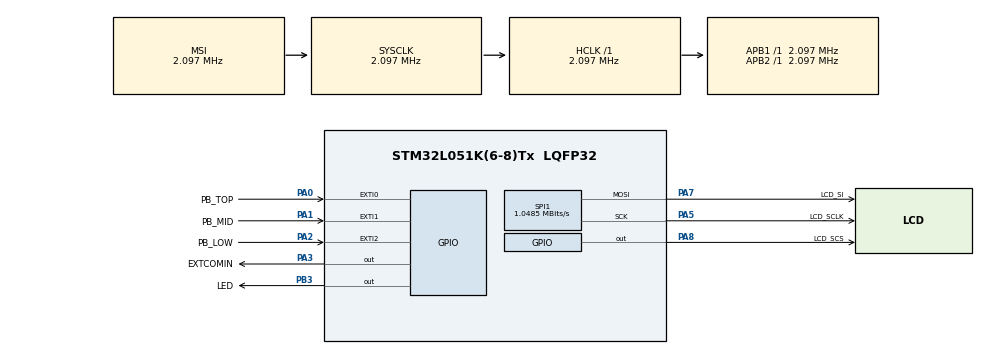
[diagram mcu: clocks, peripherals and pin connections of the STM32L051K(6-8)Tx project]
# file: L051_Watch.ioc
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Dma.Request0=SPI1_TX
Dma.SPI1_TX.0.Direction=DMA_MEMORY_TO_PERIPH
Dma.SPI1_TX.0.Instance=DMA1_Channel3
Dma.SPI1_TX.0.MemDataAlignment=DMA_MDATAALIGN_BYTE
Dma.SPI1_TX.0.MemInc=DMA_MINC_ENABLE
Dma.SPI1_TX.0.Mode=DMA_NORMAL
Dma.SPI1_TX.0.PeriphDataAlignment=DMA_PDATAALIGN_BYTE
Dma.SPI1_TX.0.PeriphInc=DMA_PINC_DISABLE
Dma.SPI1_TX.0.Priority=DMA_PRIORITY_LOW
FREERTOS.Tasks01=defaultTask,0,128,StartDefaultTask,Default,NULL,Dynamic,NULL,NULL
FREERTOS.configUSE_IDLE_HOOK=1
Mcu.Family=STM32L0
Mcu.Name=STM32L051K(6-8)Tx
Mcu.Package=LQFP32
NVIC.DMA1_Channel2_3_IRQn=true\:3\:0\:false\:false\:true\:true
NVIC.EXTI0_1_IRQn=true\:3\:0\:false\:false\:true\:true
NVIC.EXTI2_3_IRQn=true\:3\:0\:false\:false\:true\:true
NVIC.RTC_IRQn=true\:3\:0\:false\:false\:true\:true
NVIC.TIM2_IRQn=true\:3\:0\:false\:false\:true\:true
NVIC.TimeBase=TIM2_IRQn
NVIC.TimeBaseIP=TIM2
PA0.GPIO_Label=PB_TOP
PA0.GPIO_ModeDefaultEXTI=GPIO_MODE_IT_FALLING
PA0.GPIO_PuPd=GPIO_PULLUP
PA0.Signal=GPXTI0
PA1.GPIO_Label=PB_MID
PA1.GPIO_ModeDefaultEXTI=GPIO_MODE_IT_FALLING
PA1.GPIO_PuPd=GPIO_PULLUP
PA1.Signal=GPXTI1
PA13.Mode=Serial_Wire
PA13.Signal=SYS_SWDIO
PA14.Mode=Serial_Wire
PA14.Signal=SYS_SWCLK
PA2.GPIO_Label=PB_LOW
PA2.GPIO_ModeDefaultEXTI=GPIO_MODE_IT_FALLING
PA2.GPIO_PuPd=GPIO_PULLUP
PA2.Signal=GPXTI2
PA3.GPIO_Label=EXTCOMIN
PA3.GPIO_PuPd=GPIO_PULLDOWN
PA3.Signal=GPIO_Output
PA5.GPIO_Label=LCD_SCLK
PA5.Mode=TX_Only_Simplex_Unidirect_Master
PA5.Signal=SPI1_SCK
PA7.GPIO_Label=LCD_SI
PA7.Mode=TX_Only_Simplex_Unidirect_Master
PA7.Signal=SPI1_MOSI
PA8.GPIO_Label=LCD_SCS
PA8.GPIO_PuPd=GPIO_PULLDOWN
PA8.Signal=GPIO_Output
PB3.GPIO_Label=LED
PB3.GPIO_PuPd=GPIO_PULLDOWN
PB3.Signal=GPIO_Output
PC14-OSC32_IN.Mode=LSE-External-Oscillator
PC14-OSC32_IN.Signal=RCC_OSC32_IN
PC15-OSC32_OUT.Mode=LSE-External-Oscillator
PC15-OSC32_OUT.Signal=RCC_OSC32_OUT
ProjectManager.HeapSize=0x200
ProjectManager.StackSize=0x400
ProjectManager.TargetToolchain=SW4STM32
RCC.AHBFreq_Value=2097000
RCC.APB1Freq_Value=2097000
RCC.APB1TimFreq_Value=2097000
RCC.APB2Freq_Value=2097000
RCC.APB2TimFreq_Value=2097000
RCC.DATA_CACHE_ENABLE=0
RCC.HSI16_VALUE=16000000
RCC.HSI_VALUE=16000000
RCC.INSTRUCTION_CACHE_ENABLE=1
RCC.MSI_VALUE=2097000
RCC.PWR_Regulator_Voltage_Scale=PWR_REGULATOR_VOLTAGE_SCALE2
RCC.RTCClockSelection=RCC_RTCCLKSOURCE_LSE
RCC.RTCClockSelectionVirtual=RCC_RTCCLKSOURCE_LSE
RCC.SYSCLKFreq_VALUE=2097000
RCC.VCOOutputFreq_Value=48000000
RCC.VDD_VALUE=2
RTC.WakeUpClock=RTC_WAKEUPCLOCK_CK_SPRE_16BITS
RTC.WakeUpCounter=59
SPI1.CalculateBaudRate=1.0485 MBits/s
SPI1.FirstBit=SPI_FIRSTBIT_LSB
SPI1.Mode=SPI_MODE_MASTER
VP_FREERTOS_VS_ENABLE.Mode=Enabled
VP_RTC_VS_RTC_Activate.Mode=RTC_Enabled
VP_RTC_VS_RTC_Calendar.Mode=RTC_Calendar
VP_RTC_VS_RTC_WakeUp_intern.Mode=WakeUp
VP_SYS_VS_tim2.Mode=TIM2
board=L051_Watch

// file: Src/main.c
/**
  ******************************************************************************
  * File Name          : main.c
  * Description        : Main program body
  ******************************************************************************
  *
  * Copyright (c) 2017 STMicroelectronics International N.V.
  * All rights reserved.
  *
  * Redistribution and use in source and binary forms, with or without
  * modification, are permitted, provided that the following conditions are met:
  *
  * 1. Redistribution of source code must retain the above copyright notice,
  *    this list of conditions and the following disclaimer.
  * 2. Redistributions in binary form must reproduce the above copyright notice,
  *    this list of conditions and the following disclaimer in the documentation
  *    and/or other materials provided with the distribution.
  * 3. Neither the name of STMicroelectronics nor the names of other
  *    contributors to this software may be used to endorse or promote products
  *    derived from this software without specific written permission.
  * 4. This software, including modifications and/or derivative works of this
  *    software, must execute solely and exclusively on microcontroller or
  *    microprocessor devices manufactured by or for STMicroelectronics.
  * 5. Redistribution and use of this software other than as permitted under
  *    this license is void and will automatically terminate your rights under
  *    this license.
  *
  * THIS SOFTWARE IS PROVIDED BY STMICROELECTRONICS AND CONTRIBUTORS "AS IS"
  * AND ANY EXPRESS, IMPLIED OR STATUTORY WARRANTIES, INCLUDING, BUT NOT
  * LIMITED TO, THE IMPLIED WARRANTIES OF MERCHANTABILITY, FITNESS FOR A
  * PARTICULAR PURPOSE AND NON-INFRINGEMENT OF THIRD PARTY INTELLECTUAL PROPERTY
  * RIGHTS ARE DISCLAIMED TO THE FULLEST EXTENT PERMITTED BY LAW. IN NO EVENT
  * SHALL STMICROELECTRONICS OR CONTRIBUTORS BE LIABLE FOR ANY DIRECT, INDIRECT,
  * INCIDENTAL, SPECIAL, EXEMPLARY, OR CONSEQUENTIAL DAMAGES (INCLUDING, BUT NOT
  * LIMITED TO, PROCUREMENT OF SUBSTITUTE GOODS OR SERVICES; LOSS OF USE, DATA,
  * OR PROFITS; OR BUSINESS INTERRUPTION) HOWEVER CAUSED AND ON ANY THEORY OF
  * LIABILITY, WHETHER IN CONTRACT, STRICT LIABILITY, OR TORT (INCLUDING
  * NEGLIGENCE OR OTHERWISE) ARISING IN ANY WAY OUT OF THE USE OF THIS SOFTWARE,
  * EVEN IF ADVISED OF THE POSSIBILITY OF SUCH DAMAGE.
  *
  ******************************************************************************
  */
#include "main.h"
#include "stm32l0xx_hal.h"
#include "cmsis_os.h"

/* USER CODE BEGIN Includes */
#include "inittriglut.h"
#include <stdlib.h>
/* USER CODE END Includes */

RTC_HandleTypeDef hrtc;

SPI_HandleTypeDef hspi1;
DMA_HandleTypeDef hdma_spi1_tx;

osThreadId defaultTaskHandle;

/* USER CODE BEGIN PV */
/* Private variables ---------------------------------------------------------*/
#define SCREEN_WIDTH	128
#define SCREEN_HEIGHT	128

volatile uint8_t data[SCREEN_HEIGHT * ((SCREEN_WIDTH >> 3) + 2)];
const uint8_t command[1] = {0x03};
const uint8_t clear_cmd[2] = {0x05, 0x00};

RTC_TimeTypeDef sTimeStamp;
RTC_DateTypeDef sDateStamp;
HAL_RTCStateTypeDef currentState;

uint8_t hours = 12, minutes = 01, seconds = 30;

typedef enum {
	false = 0U,
	true = 1U
} bool;

typedef void (*drawFuncDef)(uint8_t, uint8_t);
/* USER CODE END PV */

void SystemClock_Config(void);
void Error_Handler(void);
static void MX_GPIO_Init(void);
static void MX_DMA_Init(void);
static void MX_SPI1_Init(void);
static void MX_RTC_Init(void);
void StartDefaultTask(void const * argument);

/* USER CODE BEGIN PFP */
/* Private function prototypes -----------------------------------------------*/

/* USER CODE END PFP */

/* USER CODE BEGIN 0 */
static void setPixel(uint8_t x, uint8_t y) {
	if (x > 127 || y > 127) return;
	/*x %= 128;
	y %= 128;*/
	data[(y*((SCREEN_WIDTH>>3)+2))+(x>>3)+1] &= ~(1 << (x % 8));
}

static void clearPixel(uint8_t x, uint8_t y) {
	if (x > 127 || y > 127) return;
	/*x %= 128;
	y %= 128;*/
	data[(y*((SCREEN_WIDTH>>3)+2))+(x>>3)+1] |= (1 << (x % 8));
}

void clearDisplay() {
	for(uint8_t dy=0; dy<SCREEN_HEIGHT; dy++) {
		for(uint8_t dx=0; dx<SCREEN_WIDTH; dx++) {
			setPixel(dx,dy);
		}
	}
}

static drawFuncDef otherFunction(const drawFuncDef func) {
	if (func == setPixel) return clearPixel;
	else return setPixel;
}

static void drawCircle(uint8_t x0, uint8_t y0, uint8_t radius, const drawFuncDef drawFunc) {
	int x = radius;
	int y = 0;
	int err = 0;
	while (x >= y) {
		drawFunc(x0 + x, y0 + y);
		drawFunc(x0 + y, y0 + x);
		drawFunc(x0 - y, y0 + x);
		drawFunc(x0 - x, y0 + y);
		drawFunc(x0 - x, y0 - y);
		drawFunc(x0 - y, y0 - x);
		drawFunc(x0 + y, y0 - x);
		drawFunc(x0 + x, y0 - y);

		y += 1;
		err += 1 + (y << 2);
		if (((err-x) << 2) + 1 > 0) {
			x -= 1;
			err += 1 - (x << 2);
		}
	}
}

// source: https://rosettacode.org/wiki/Bitmap/Bresenham%27s_line_algorithm#C
static void drawLine(uint8_t x0, uint8_t y0, uint8_t x1, uint8_t y1, const drawFuncDef drawFunc) {
	int dx = abs(x1-x0), sx = x0 < x1 ? 1 : -1;
	int dy = abs(y1-y0), sy = y0 < y1 ? 1 : -1;
	int err = (dx > dy ? dx : -dy)/2, e2;

	for (;;) {
		drawFunc(x0,y0);
		if (x0==x1 && y0==y1) break;
		e2 = err;
		if (e2 > -dx)	{ err -= dy; x0 += sx; }
		if (e2 < dy)	{ err += dx; y0 += sy; }
	}
}

static void drawRect(uint8_t x1, uint8_t y1, uint8_t w, uint8_t h, const drawFuncDef drawFunc) {
	drawLine(x1,y1,x1+w,y1,drawFunc);
	drawLine(x1,y1,x1,y1+h,drawFunc);
	drawLine(x1,y1+h,x1+w,y1+h,drawFunc);
	drawLine(x1+w,y1,x1+w,y1+h,drawFunc);
}

static void drawArc(uint8_t x0, uint8_t y0, uint8_t radius, int16_t start, int16_t end, const drawFuncDef drawFunc) {
	for(int16_t theta=start+1; theta<end; theta++) {
		int32_t _x1 = x0 + radius * i16_cos(theta-1) / 32768;
		int32_t _y1 = y0 + radius * i16_sin(theta-1) / 32768;
		int32_t _x2 = x0 + radius * i16_cos(theta) / 32768;
		int32_t _y2 = y0 + radius * i16_sin(theta) / 32768;
		//drawFunc((uint8_t)_x, (uint8_t)_y);
		drawLine(_x1, _y1, _x2, _y2, drawFunc);
	}
}

static void drawRoundedRect(uint8_t x1, uint8_t y1, uint8_t w, uint8_t h, uint8_t r, const drawFuncDef drawFunc) {
	drawLine(x1+r,y1,x1+w-r,y1,drawFunc);
	drawLine(x1,y1+r,x1,y1+h-r,drawFunc);
	drawLine(x1+r,y1+h,x1+w-r,y1+h,drawFunc);
	drawLine(x1+w,y1+r,x1+w,y1+h-r,drawFunc);

	drawArc(x1+r,y1+r,r,180,270,drawFunc);
	drawArc(x1+w-r,y1+r,r,-90,0,drawFunc);
	drawArc(x1+r,y1+h-r,r,90,180,drawFunc);
	drawArc(x1+w-r,y1+h-r,r,0,90,drawFunc);
}
/*
static void drawChar8(uint8_t x, uint8_t y, char c, bool bg, const drawFuncDef drawFunc) {
	uint16_t n = c - ' ';
	drawFuncDef other = otherFunction(drawFunc);

	for (uint8_t i=0; i<16; i++) {
		for(uint8_t j=0; j<8; j++) {
			if  ((font8x16[(n*16)+i] >> (7-j)) & 0x01) {
				setPixel((x+j)%SCREEN_WIDTH, (y+i)%SCREEN_HEIGHT);
			}
			else {
				if (bg) other((x+j)%SCREEN_WIDTH, (y+i)%SCREEN_HEIGHT);
			}
		}
	}
}

static void drawChar32(uint8_t x, uint8_t y, char c, bool bg, const drawFuncDef drawFunc) {
	uint16_t n = c - '0';
	drawFuncDef other = otherFunction(drawFunc);
	if (n > 10) n = 11;

	for(uint8_t i=0; i<29; i++) {
		for(uint8_t j=0; j<24; j++) {
			if ((font24x29[(n*29)+i] >> (23-j)) & (uint32_t)0x01) {
				drawFunc((x+j)%SCREEN_WIDTH, (y+i)%SCREEN_HEIGHT);
			}
			else {
				if (bg) other((x+j)%SCREEN_WIDTH, (y+i)%SCREEN_HEIGHT);
			}
		}
	}
}

static void drawStr8(uint8_t x, uint8_t y, char str[], bool bg, const drawFuncDef drawFunc) {
	char *c = NULL;
	uint8_t x0 = x;
	for(c = str; *c != '\0'; c++) {
		if (*c == '\n') {
			y += 16;
			x = x0;
		}
		else {
			drawChar8(x, y, *c, bg, drawFunc);
			x += 8;
		}
	}
}

static void drawStr24(uint8_t x, uint8_t y, char str[], bool bg, const drawFuncDef drawFunc) {
	char *c = NULL;
	for(c = str; *c != '\0'; c++) {
		drawChar32(x, y, *c, bg, drawFunc);
		x += 24;
	}
}*/
/* USER CODE END 0 */

int main(void)
{

  /* USER CODE BEGIN 1 */
	for(uint8_t i=0; i<SCREEN_HEIGHT; i++) {
			data[i*((SCREEN_WIDTH >> 3)+2)] = i+1;
			data[(i+1)*((SCREEN_WIDTH>>3)+2)-1] = 0x00;
		}
  /* USER CODE END 1 */

  /* MCU Configuration----------------------------------------------------------*/

  /* Reset of all peripherals, Initializes the Flash interface and the Systick. */
  HAL_Init();

  /* Configure the system clock */
  SystemClock_Config();

  /* Initialize all configured peripherals */
  MX_GPIO_Init();
  MX_DMA_Init();
  MX_SPI1_Init();
  MX_RTC_Init();

  /* USER CODE BEGIN 2 */
  HAL_SuspendTick();
  HAL_PWREx_EnableLowPowerRunMode();

  updateDisplay();
  /* USER CODE END 2 */

  /* Create the thread(s) */
  /* definition and creation of defaultTask */
  /*osThreadDef(defaultTask, StartDefaultTask, osPriorityNormal, 0, 128);
  defaultTaskHandle = osThreadCreate(osThread(defaultTask), NULL);*/

  /* Start scheduler */
  osKernelStart();

  /* We should never get here as control is now taken by the scheduler */

  /* Infinite loop */
  while (1)
  {

  }

}

/** System Clock Configuration
*/
void SystemClock_Config(void)
{

  RCC_OscInitTypeDef RCC_OscInitStruct;
  RCC_ClkInitTypeDef RCC_ClkInitStruct;
  RCC_PeriphCLKInitTypeDef PeriphClkInit;

    /**Configure the main internal regulator output voltage
    */
  __HAL_PWR_VOLTAGESCALING_CONFIG(PWR_REGULATOR_VOLTAGE_SCALE2);

    /**Initializes the CPU, AHB and APB busses clocks
    */
  RCC_OscInitStruct.OscillatorType = RCC_OSCILLATORTYPE_LSE|RCC_OSCILLATORTYPE_MSI;
  RCC_OscInitStruct.LSEState = RCC_LSE_ON;
  RCC_OscInitStruct.MSIState = RCC_MSI_ON;
  RCC_OscInitStruct.MSICalibrationValue = 0;
  RCC_OscInitStruct.MSIClockRange = RCC_MSIRANGE_5;
  RCC_OscInitStruct.PLL.PLLState = RCC_PLL_NONE;
  if (HAL_RCC_OscConfig(&RCC_OscInitStruct) != HAL_OK)
  {
    Error_Handler();
  }

    /**Initializes the CPU, AHB and APB busses clocks
    */
  RCC_ClkInitStruct.ClockType = RCC_CLOCKTYPE_HCLK|RCC_CLOCKTYPE_SYSCLK
                              |RCC_CLOCKTYPE_PCLK1|RCC_CLOCKTYPE_PCLK2;
  RCC_ClkInitStruct.SYSCLKSource = RCC_SYSCLKSOURCE_MSI;
  RCC_ClkInitStruct.AHBCLKDivider = RCC_SYSCLK_DIV1;
  RCC_ClkInitStruct.APB1CLKDivider = RCC_HCLK_DIV1;
  RCC_ClkInitStruct.APB2CLKDivider = RCC_HCLK_DIV1;

  if (HAL_RCC_ClockConfig(&RCC_ClkInitStruct, FLASH_LATENCY_0) != HAL_OK)
  {
    Error_Handler();
  }

  PeriphClkInit.PeriphClockSelection = RCC_PERIPHCLK_RTC;
  PeriphClkInit.RTCClockSelection = RCC_RTCCLKSOURCE_LSE;
  if (HAL_RCCEx_PeriphCLKConfig(&PeriphClkInit) != HAL_OK)
  {
    Error_Handler();
  }

    /**Configure LSE Drive Capability
    */
  __HAL_RCC_LSEDRIVE_CONFIG(RCC_LSEDRIVE_LOW);

    /**Configure the Systick interrupt time
    */
  HAL_SYSTICK_Config(HAL_RCC_GetHCLKFreq()/1000);

    /**Configure the Systick
    */
  HAL_SYSTICK_CLKSourceConfig(SYSTICK_CLKSOURCE_HCLK);

  /* SysTick_IRQn interrupt configuration */
  HAL_NVIC_SetPriority(SysTick_IRQn, 3, 0);
}

/* RTC init function */
static void MX_RTC_Init(void)
{

  RTC_TimeTypeDef sTime;
  RTC_DateTypeDef sDate;

    /**Initialize RTC Only
    */
  hrtc.Instance = RTC;
  hrtc.Init.HourFormat = RTC_HOURFORMAT_24;
  hrtc.Init.AsynchPrediv = 127;
  hrtc.Init.SynchPrediv = 255;
  hrtc.Init.OutPut = RTC_OUTPUT_DISABLE;
  hrtc.Init.OutPutRemap = RTC_OUTPUT_REMAP_NONE;
  hrtc.Init.OutPutPolarity = RTC_OUTPUT_POLARITY_HIGH;
  hrtc.Init.OutPutType = RTC_OUTPUT_TYPE_OPENDRAIN;
  if (HAL_RTC_Init(&hrtc) != HAL_OK)
  {
    Error_Handler();
  }

    /**Initialize RTC and set the Time and Date
    */
  sTime.Hours = 0x0;
  sTime.Minutes = 0x0;
  sTime.Seconds = 0x0;
  sTime.DayLightSaving = RTC_DAYLIGHTSAVING_NONE;
  sTime.StoreOperation = RTC_STOREOPERATION_RESET;
  if (HAL_RTC_SetTime(&hrtc, &sTime, RTC_FORMAT_BCD) != HAL_OK)
  {
    Error_Handler();
  }

  sDate.WeekDay = RTC_WEEKDAY_MONDAY;
  sDate.Month = RTC_MONTH_JANUARY;
  sDate.Date = 0x1;
  sDate.Year = 0x0;

  if (HAL_RTC_SetDate(&hrtc, &sDate, RTC_FORMAT_BCD) != HAL_OK)
  {
    Error_Handler();
  }

    /**Enable the WakeUp
    */
  if (HAL_RTCEx_SetWakeUpTimer_IT(&hrtc, 59, RTC_WAKEUPCLOCK_CK_SPRE_16BITS) != HAL_OK)
  {
    Error_Handler();
  }

}

/* SPI1 init function */
static void MX_SPI1_Init(void)
{

  hspi1.Instance = SPI1;
  hspi1.Init.Mode = SPI_MODE_MASTER;
  hspi1.Init.Direction = SPI_DIRECTION_2LINES;
  hspi1.Init.DataSize = SPI_DATASIZE_8BIT;
  hspi1.Init.CLKPolarity = SPI_POLARITY_LOW;
  hspi1.Init.CLKPhase = SPI_PHASE_1EDGE;
  hspi1.Init.NSS = SPI_NSS_SOFT;
  hspi1.Init.BaudRatePrescaler = SPI_BAUDRATEPRESCALER_2;
  hspi1.Init.FirstBit = SPI_FIRSTBIT_LSB;
  hspi1.Init.TIMode = SPI_TIMODE_DISABLE;
  hspi1.Init.CRCCalculation = SPI_CRCCALCULATION_DISABLE;
  hspi1.Init.CRCPolynomial = 7;
  if (HAL_SPI_Init(&hspi1) != HAL_OK)
  {
    Error_Handler();
  }

}

static void MX_DMA_Init(void)
{
  /* DMA controller clock enable */
  __HAL_RCC_DMA1_CLK_ENABLE();

  /* DMA interrupt init */
  /* DMA1_Channel2_3_IRQn interrupt configuration */
  HAL_NVIC_SetPriority(DMA1_Channel2_3_IRQn, 3, 0);
  HAL_NVIC_EnableIRQ(DMA1_Channel2_3_IRQn);

}

/** Configure pins as
        * Analog
        * Input
        * Output
        * EVENT_OUT
        * EXTI
*/
static void MX_GPIO_Init(void)
{

  GPIO_InitTypeDef GPIO_InitStruct;

  /* GPIO Ports Clock Enable */
  __HAL_RCC_GPIOC_CLK_ENABLE();
  __HAL_RCC_GPIOA_CLK_ENABLE();
  __HAL_RCC_GPIOB_CLK_ENABLE();

  /*Configure GPIO pin Output Level */
  HAL_GPIO_WritePin(GPIOA, EXTCOMIN_Pin|LCD_SCS_Pin, GPIO_PIN_RESET);

  /*Configure GPIO pin Output Level */
  HAL_GPIO_WritePin(LED_GPIO_Port, LED_Pin, GPIO_PIN_RESET);

  /*Configure GPIO pins : PB_TOP_Pin PB_MID_Pin PB_LOW_Pin */
  GPIO_InitStruct.Pin = PB_TOP_Pin|PB_MID_Pin|PB_LOW_Pin;
  GPIO_InitStruct.Mode = GPIO_MODE_IT_FALLING;
  GPIO_InitStruct.Pull = GPIO_PULLUP;
  HAL_GPIO_Init(GPIOA, &GPIO_InitStruct);

  /*Configure GPIO pins : EXTCOMIN_Pin LCD_SCS_Pin */
  GPIO_InitStruct.Pin = EXTCOMIN_Pin|LCD_SCS_Pin;
  GPIO_InitStruct.Mode = GPIO_MODE_OUTPUT_PP;
  GPIO_InitStruct.Pull = GPIO_PULLDOWN;
  GPIO_InitStruct.Speed = GPIO_SPEED_FREQ_LOW;
  HAL_GPIO_Init(GPIOA, &GPIO_InitStruct);

  /*Configure GPIO pin : LED_Pin */
  GPIO_InitStruct.Pin = LED_Pin;
  GPIO_InitStruct.Mode = GPIO_MODE_OUTPUT_PP;
  GPIO_InitStruct.Pull = GPIO_PULLDOWN;
  GPIO_InitStruct.Speed = GPIO_SPEED_FREQ_LOW;
  HAL_GPIO_Init(LED_GPIO_Port, &GPIO_InitStruct);

  /* EXTI interrupt init*/
  HAL_NVIC_SetPriority(EXTI0_1_IRQn, 3, 0);
  HAL_NVIC_EnableIRQ(EXTI0_1_IRQn);

  HAL_NVIC_SetPriority(EXTI2_3_IRQn, 3, 0);
  HAL_NVIC_EnableIRQ(EXTI2_3_IRQn);

}

/* USER CODE BEGIN 4 */
void vApplicationIdleHook(void) {
	HAL_PWR_EnterSLEEPMode(PWR_MAINREGULATOR_ON, PWR_SLEEPENTRY_WFE);
	//HAL_PWREx_EnableLowPowerRunMode()
	//HAL_PWREx_EnableUltraLowPower()
}

void updateDisplay() {
	clearDisplay();

		  		drawRoundedRect(1,1,126,126,8,clearPixel);
		  		// 12 line
		  		drawLine(63,3,63,14,clearPixel);
		  		drawLine(64,3,64,14,clearPixel);
		  		// 6 line
		  		drawLine(63,113,63,124,clearPixel);
		  		drawLine(64,113,64,124,clearPixel);
		  		// 9 line
		  		drawLine(3,63,14,63,clearPixel);
		  		drawLine(3,64,14,64,clearPixel);
		  		// 3 line
		  		drawLine(113,63,124,63,clearPixel);
		  		drawLine(113,64,124,64,clearPixel);
		  		// 1 line
		  		drawLine(92,13,99,3,clearPixel);
		  		drawLine(92,14,98,3,clearPixel);
		  		// 2 line
		  		drawLine(113,35,124,29,clearPixel);
		  		drawLine(114,35,124,30,clearPixel);
		  		// 5 line
		  		drawLine(92,114,99,124,clearPixel);
		  		drawLine(92,113,98,124,clearPixel);
		  		// 4 line
		  		drawLine(113,92,124,98,clearPixel);
		  		drawLine(114,93,124,99,clearPixel);
		  		// 11 line
		  		drawLine(35,14,29,3,clearPixel);
		  		drawLine(35,13,28,3,clearPixel);
		  		// 10 line
		  		drawLine(14,34,3,29,clearPixel);
		  		drawLine(14,35,3,28,clearPixel);
		  		// 8 line
		  		drawLine(14,92,3,99,clearPixel);
		  		drawLine(14,93,3,98,clearPixel);
		  		// 7 line
		  		drawLine(34,113,29,124,clearPixel);
		  		drawLine(35,113,28,124,clearPixel);

		  		// hour hand
		  		int16_t angle_hour = hours*360/12 + (minutes/2) - 90;
		  		drawLine(64,64,64+35*i16_cos(angle_hour)/32768,64+35*i16_sin(angle_hour)/32768,clearPixel);

		  		// minute hand
		  		int16_t angle_minute = minutes*360/60 - 90;
		  		drawLine(64,64,64+46*i16_cos(angle_minute)/32768,64+52*i16_sin(angle_minute)/32768,clearPixel);

		  		// second hand
		  		/*
		  		int16_t angle_second = seconds * 360 / 60 - 90;
		  		drawLine(64,64,64+62*i16_cos(angle_second)/32768, 64+62*i16_sin(angle_second)/32768,clearPixel);*/

		  		// Send frame
		  		HAL_GPIO_WritePin(LCD_SCS_GPIO_Port, LCD_SCS_Pin, GPIO_PIN_SET);

		  		HAL_SPI_Transmit(&hspi1, (uint8_t*)command, 1, HAL_MAX_DELAY);
		  		//HAL_SPI_Transmit(&hspi1, data, SCREEN_HEIGHT * ((SCREEN_WIDTH >> 3) + 2), HAL_MAX_DELAY);
		  		HAL_SPI_Transmit_DMA(&hspi1, data, SCREEN_HEIGHT * ((SCREEN_WIDTH >> 3) + 2));
		  		HAL_SPI_Transmit(&hspi1, 0x00, 1, HAL_MAX_DELAY);
}
/* USER CODE END 4 */

/* StartDefaultTask function */
void StartDefaultTask(void const * argument)
{

  /* USER CODE BEGIN 5 */
  /* Infinite loop */
  for(;;)
  {

    osDelay(25);
  }
  /* USER CODE END 5 */
}

void HAL_TIM_PeriodElapsedCallback(TIM_HandleTypeDef *htim)
{
  if (htim->Instance == TIM2) {
    HAL_IncTick();
  }
}

void Error_Handler(void)
{
  while(1)
  {
  }
}

/************************ (C) COPYRIGHT STMicroelectronics *****END OF FILE****/

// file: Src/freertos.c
/**
  ******************************************************************************
  * File Name          : freertos.c
  * Description        : Code for freertos applications
  ******************************************************************************
  *
  * Copyright (c) 2017 STMicroelectronics International N.V.
  * All rights reserved.
  *
  * Redistribution and use in source and binary forms, with or without
  * modification, are permitted, provided that the following conditions are met:
  *
  * 1. Redistribution of source code must retain the above copyright notice,
  *    this list of conditions and the following disclaimer.
  * 2. Redistributions in binary form must reproduce the above copyright notice,
  *    this list of conditions and the following disclaimer in the documentation
  *    and/or other materials provided with the distribution.
  * 3. Neither the name of STMicroelectronics nor the names of other
  *    contributors to this software may be used to endorse or promote products
  *    derived from this software without specific written permission.
  * 4. This software, including modifications and/or derivative works of this
  *    software, must execute solely and exclusively on microcontroller or
  *    microprocessor devices manufactured by or for STMicroelectronics.
  * 5. Redistribution and use of this software other than as permitted under
  *    this license is void and will automatically terminate your rights under
  *    this license.
  *
  * THIS SOFTWARE IS PROVIDED BY STMICROELECTRONICS AND CONTRIBUTORS "AS IS"
  * AND ANY EXPRESS, IMPLIED OR STATUTORY WARRANTIES, INCLUDING, BUT NOT
  * LIMITED TO, THE IMPLIED WARRANTIES OF MERCHANTABILITY, FITNESS FOR A
  * PARTICULAR PURPOSE AND NON-INFRINGEMENT OF THIRD PARTY INTELLECTUAL PROPERTY
  * RIGHTS ARE DISCLAIMED TO THE FULLEST EXTENT PERMITTED BY LAW. IN NO EVENT
  * SHALL STMICROELECTRONICS OR CONTRIBUTORS BE LIABLE FOR ANY DIRECT, INDIRECT,
  * INCIDENTAL, SPECIAL, EXEMPLARY, OR CONSEQUENTIAL DAMAGES (INCLUDING, BUT NOT
  * LIMITED TO, PROCUREMENT OF SUBSTITUTE GOODS OR SERVICES; LOSS OF USE, DATA,
  * OR PROFITS; OR BUSINESS INTERRUPTION) HOWEVER CAUSED AND ON ANY THEORY OF
  * LIABILITY, WHETHER IN CONTRACT, STRICT LIABILITY, OR TORT (INCLUDING
  * NEGLIGENCE OR OTHERWISE) ARISING IN ANY WAY OUT OF THE USE OF THIS SOFTWARE,
  * EVEN IF ADVISED OF THE POSSIBILITY OF SUCH DAMAGE.
  *
  ******************************************************************************
  */

#include "FreeRTOS.h"
#include "task.h"

/* Hook prototypes */
void vApplicationIdleHook(void);

/* USER CODE BEGIN 2 */
__weak void vApplicationIdleHook( void )
{
   /* vApplicationIdleHook() will only be called if configUSE_IDLE_HOOK is set
   to 1 in FreeRTOSConfig.h. It will be called on each iteration of the idle
   task. It is essential that code added to this hook function never attempts
   to block in any way (for example, call xQueueReceive() with a block time
   specified, or call vTaskDelay()). If the application makes use of the
   vTaskDelete() API function (as this demo application does) then it is also
   important that vApplicationIdleHook() is permitted to return to its calling
   function, because it is the responsibility of the idle task to clean up
   memory allocated by the kernel to any task that has since been deleted. */
}
/* USER CODE END 2 */

/************************ (C) COPYRIGHT STMicroelectronics *****END OF FILE****/
